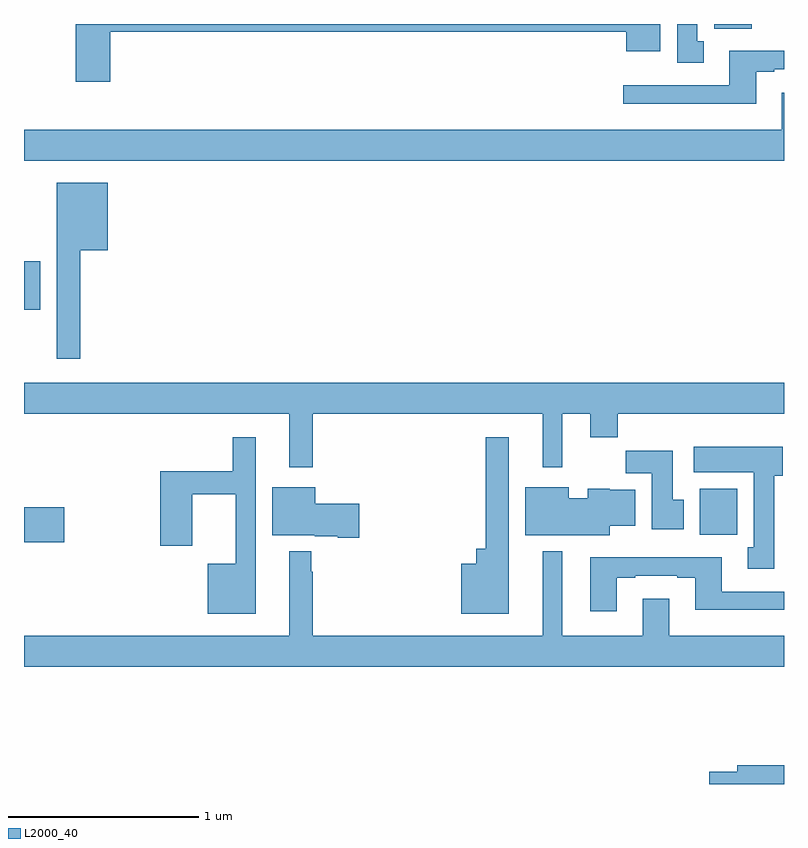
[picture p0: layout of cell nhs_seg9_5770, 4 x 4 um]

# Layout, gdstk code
import gdstk
lib = gdstk.Library(unit=1e-6, precision=1e-09)
def R(c, l, rs):  # rectangles x0, y0, x1, y1
    for r in rs: c.add(gdstk.rectangle(r[:2], r[2:], *l))
def P(c, l, *ps):  # polygons
    for p in ps: c.add(gdstk.Polygon(p, *l))
L2000_40 = (2000, 40)

nhs_seg9_5770 = lib.new_cell('nhs_seg9_5770')
R(nhs_seg9_5770, L2000_40, [(447,1167.773,447.211,1167.956), (450.557,1167.812,450.754,1168.054), (447,1168.997,447.085,1169.251), (450.632,1170.476,450.829,1170.5)])
P(nhs_seg9_5770, L2000_40, [(447.455,1170.46),(450.17,1170.46),(450.17,1170.356),(450.349,1170.356),(450.349,1170.5),(447.272,1170.5),(447.272,1170.195),(447.455,1170.195)],
  [(450.577,1170.41),(450.544,1170.41),(450.544,1170.5),(450.437,1170.5),(450.437,1170.297),(450.577,1170.297)],
  [(450.853,1170.249),(450.949,1170.249),(450.949,1170.261),(451,1170.261),(451,1170.358),(450.713,1170.358),(450.713,1170.177),(450.153,1170.177),(450.153,1170.08),(450.853,1170.08)],
  [(451,1170.139),(450.989,1170.139),(450.989,1169.944),(447,1169.944),(447,1169.78),(451,1169.78)],
  [(447.295,1169.309),(447.442,1169.309),(447.442,1169.665),(447.173,1169.665),(447.173,1168.737),(447.295,1168.737)],
  [(447,1168.448),(448.397,1168.448),(448.397,1168.167),(448.519,1168.167),(448.519,1168.448),(449.729,1168.448),(449.729,1168.167),(449.833,1168.167),(449.833,1168.448),(449.981,1168.448),(449.981,1168.324),(450.125,1168.324),(450.125,1168.448),(451,1168.448),(451,1168.612),(447,1168.612)],
  [(449.551,1168.324),(449.43,1168.324),(449.43,1167.739),(449.381,1167.739),(449.381,1167.658),(449.3,1167.658),(449.3,1167.395),(449.551,1167.395)],
  [(448.219,1168.324),(448.098,1168.324),(448.098,1168.147),(447.716,1168.147),(447.716,1167.753),(447.886,1167.753),(447.886,1168.026),(448.115,1168.026),(448.115,1167.658),(447.968,1167.658),(447.968,1167.395),(448.219,1167.395)],
  [(450.949,1168.122),(450.994,1168.122),(450.994,1168.276),(450.525,1168.276),(450.525,1168.142),(450.842,1168.142),(450.842,1167.746),(450.809,1167.746),(450.809,1167.633),(450.949,1167.633)],
  [(450.472,1167.996),(450.415,1167.996),(450.415,1168.255),(450.166,1168.255),(450.166,1168.136),(450.305,1168.136),(450.305,1167.84),(450.472,1167.84)],
  [(448.765,1167.975),(448.534,1167.975),(448.534,1168.063),(448.307,1168.063),(448.307,1167.809),(448.53,1167.809),(448.53,1167.803),(448.652,1167.803),(448.652,1167.797),(448.765,1167.797)],
  [(450.084,1167.86),(450.217,1167.86),(450.217,1168.048),(450.084,1168.048),(450.084,1168.054),(449.966,1168.054),(449.966,1168.003),(449.866,1168.003),(449.866,1168.063),(449.639,1168.063),(449.639,1167.809),(450.084,1167.809)],
  [(451,1167.28),(450.397,1167.28),(450.397,1167.475),(450.257,1167.475),(450.257,1167.28),(449.833,1167.28),(449.833,1167.724),(449.729,1167.724),(449.729,1167.28),(448.519,1167.28),(448.519,1167.617),(448.511,1167.617),(448.511,1167.724),(448.397,1167.724),(448.397,1167.28),(447,1167.28),(447,1167.116),(451,1167.116)],
  [(450.121,1167.585),(450.217,1167.585),(450.217,1167.597),(450.437,1167.597),(450.437,1167.585),(450.533,1167.585),(450.533,1167.416),(451,1167.416),(451,1167.513),(450.673,1167.513),(450.673,1167.694),(449.981,1167.694),(449.981,1167.408),(450.121,1167.408)],
  [(451,1166.6),(450.755,1166.6),(450.755,1166.564),(450.606,1166.564),(450.606,1166.5),(451,1166.5)])

lib.write_gds('nhs_seg9_5770.gds')
